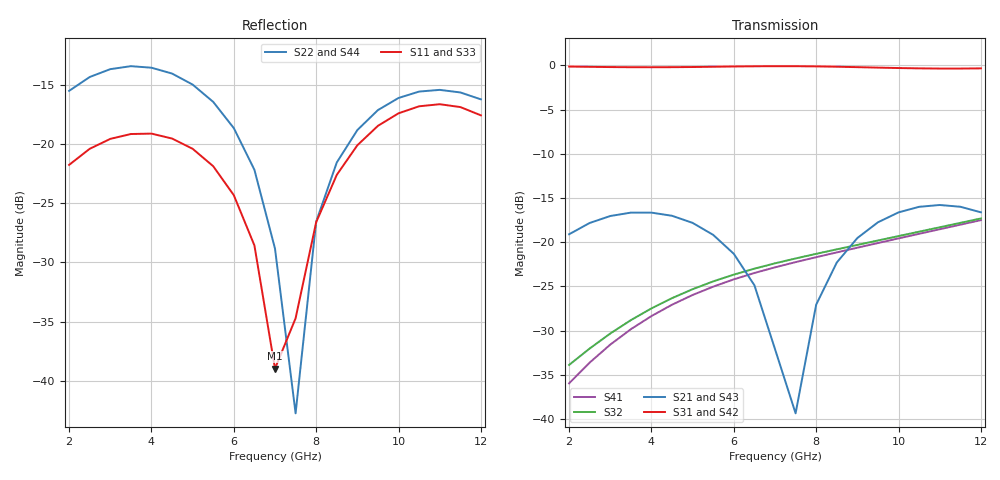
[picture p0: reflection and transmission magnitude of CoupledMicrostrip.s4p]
! Generated by circuitRF - EM: Palace
! circuitRF-EM setup: Coupled Microstrip Palace
! circuitRF-EM layout: Coupled Microstrip.c3d
! circuitRF-EM written: 2026-10-06 22:57:05Z
! circuitRF-EM geometry: df84d872c142776c
! circuitRF-EM mesh: be36879526fbbc1a
! circuitRF-EM ports: 98c97d6a5cd15348
! circuitRF-EM model: Palace 0.18.1 (0dc74cd, schema 1-7-0)
! circuitRF-EM port 1: 'port/1' from 'airbox/zmin' to 'strip_a', wave (mode 1), 50 Ohm: Palace's S is referred to the mode's own impedance Z_PV, renormalised here to 50 Ohm; reference plane 0 um into the structure from the port face
! circuitRF-EM port 2: 'port/2' from 'airbox/zmin' to 'strip_b', wave (mode 1), 50 Ohm: Palace's S is referred to the mode's own impedance Z_PV, renormalised here to 50 Ohm; reference plane 0 um into the structure from the port face
! circuitRF-EM port 3: 'port/3' from 'airbox/zmin' to 'strip_a', wave (mode 1), 50 Ohm: Palace's S is referred to the mode's own impedance Z_PV, renormalised here to 50 Ohm; reference plane 0 um into the structure from the port face
! circuitRF-EM port 4: 'port/4' from 'airbox/zmin' to 'strip_b', wave (mode 1), 50 Ohm: Palace's S is referred to the mode's own impedance Z_PV, renormalised here to 50 Ohm; reference plane 0 um into the structure from the port face
! circuitRF-EM 3D port map: result port 1 is the 3D view's port 'xmin', terminal 'P1' (strip_a)
! circuitRF-EM 3D port map: result port 2 is the 3D view's port 'xmin', terminal 'P2' (strip_b)
! circuitRF-EM 3D port map: result port 3 is the 3D view's port 'xmax', terminal 'P3' (strip_a)
! circuitRF-EM 3D port map: result port 4 is the 3D view's port 'xmax', terminal 'P4' (strip_b)
! circuitRF-EM 3D mesh: 56,257 elements initially, 56,257 finally, 0 adaptive pass(es), element order 2
! circuitRF-EM 3D operating temperature: 20 C
! circuitRF-EM 3D run: preset Standard; 56257 -> 56257 tetrahedra; 405008 unknowns; 0 refinement pass(es); 7 frequency sample(s)
! circuitRF-EM 3D run cost: wall 874 s; Palace peak memory 5.1 GB
! circuitRF-EM: re-running the EM setup rewrites this file. If circuitRF reports it as stale, the layout's cross-section changed after this file was written.
# GHz S RI R 50
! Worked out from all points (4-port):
!   21 points, 2 GHz to 12 GHz, reference 50 ohm
!   strongest paths, dB at 2 GHz, 4.5 GHz, 7 GHz, 9.5 GHz, 12 GHz:
!     S31: -0.1, -0.2, -0.1, -0.3, -0.4
!     S42: -0.2, -0.3, -0.1, -0.3, -0.4
!     S21: -19.1, -17.0, -32.1, -17.7, -16.6
!     S43: -19.1, -17.0, -32.1, -17.8, -16.6
!     S32: -33.9, -26.3, -22.4, -19.8, -17.3
!     S41: -35.9, -27.1, -22.8, -20.1, -17.5
!   lowest |S11| = -39.0 dB at 7 GHz (marker M1), VSWR 1.02, Z = 49.7 - j1.07 ohm
!   |S11| at or under -10 dB: start of sweep to end of sweep
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2  0.0617 0.0537  0.0843 0.0667  0.6426 -0.7435  -0.00774 -0.0191
   0.0854 0.0708  -0.13 -0.107  -0.00373 -0.016  0.6215 -0.7504
   0.6426 -0.7439  -0.00765 -0.0188  0.0615 0.054  0.0825 0.0687
   -0.00365 -0.0155  0.6215 -0.75  0.087 0.0687  -0.1298 -0.107
5.5  0.0517 -0.0621  0.0839 -0.0753  -0.6732 -0.7132  -0.0485 0.0357
     0.0831 -0.072  -0.1139 0.0993  -0.0456 0.0331  -0.6864 -0.691
     -0.6733 -0.713  -0.0486 0.0354  0.0517 -0.0617  0.0854 -0.0739
     -0.0456 0.0327  -0.6862 -0.6912  0.082 -0.0735  -0.1141 0.0992
7  -0.00326 -0.0108  0.00885 -0.0272  -0.9742 -0.1653  -0.0157 0.0743
   0.00858 -0.0234  -0.0103 0.0347  -0.0151 0.0705  -0.9807 -0.1275
   -0.9743 -0.1653  -0.0158 0.0743  -0.00304 -0.0107  0.00922 -0.0272
   -0.0152 0.0705  -0.9805 -0.1276  0.00825 -0.0235  -0.0106 0.0347
7.5  -0.00128 0.0183  0.00493 0.00576  -0.9863 0.0493  0.00166 0.0809
     0.00498 0.00958  -0.00368 -0.00628  0.0014 0.0772  -0.9849 0.093
     -0.9866 0.0493  0.00163 0.0809  -0.00109 0.0183  0.00469 0.00581
     0.00138 0.0772  -0.9847 0.0929  0.00514 0.00952  -0.00394 -0.00626
8  0.0134 0.0448  0.0157 0.0377  -0.9498 0.2609  0.0207 0.0835
   0.0161 0.0414  -0.0146 -0.0448  0.0197 0.0799  -0.9375 0.3081
   -0.9501 0.261  0.0208 0.0834  0.0136 0.0448  0.0149 0.038
   0.0197 0.0799  -0.9372 0.3079  0.0167 0.0412  -0.0148 -0.0447
8.5  0.0387 0.0633  0.0391 0.0623  -0.8675 0.4575  0.0408 0.0816
     0.0397 0.0657  -0.0398 -0.0737  0.039 0.0785  -0.8425 0.5046
     -0.8678 0.4577  0.0408 0.0815  0.0388 0.0633  0.038 0.063
     0.0391 0.0784  -0.8422 0.5043  0.0406 0.0651  -0.04 -0.0736
12  0.1123 -0.0705  0.1358 -0.0609  0.3716 0.8853  0.1258 -0.053
    0.1353 -0.0589  -0.1466 0.0501  0.1231 -0.0516  0.4395 0.8523
    0.3719 0.8854  0.1257 -0.0526  0.1123 -0.0706  0.1367 -0.0589
    0.123 -0.0514  0.4392 0.8523  0.1348 -0.0601  -0.1465 0.0502
